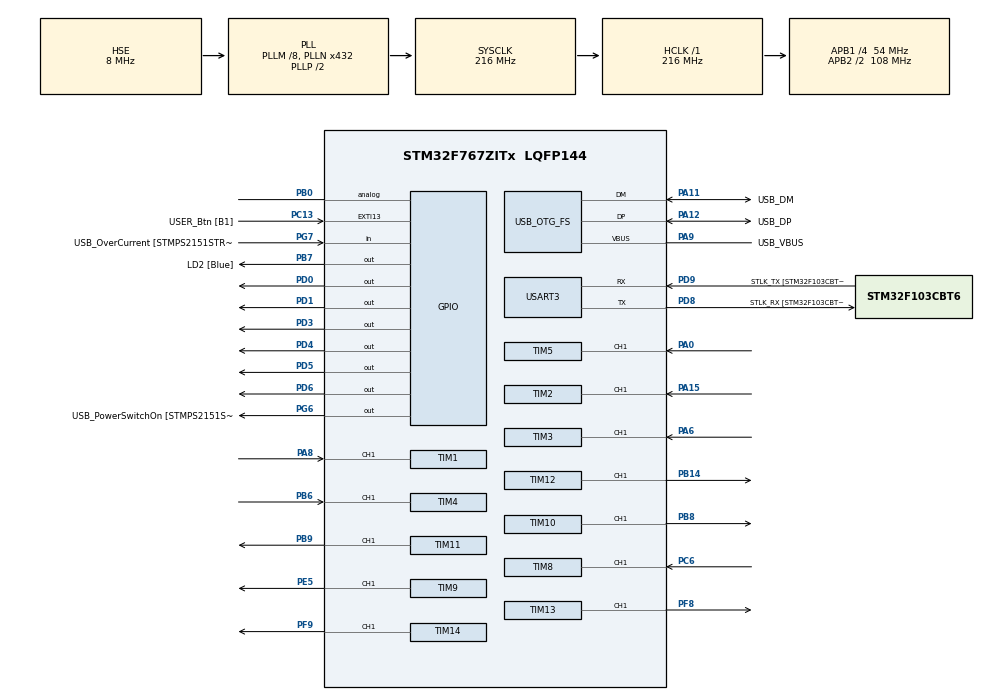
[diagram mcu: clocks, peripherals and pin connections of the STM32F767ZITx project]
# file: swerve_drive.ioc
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Mcu.Family=STM32F7
Mcu.Name=STM32F767ZITx
Mcu.Package=LQFP144
NVIC.PriorityGroup=NVIC_PRIORITYGROUP_4
NVIC.TIM6_DAC_IRQn=true\:0\:0\:false\:false\:true\:true\:true\:true
PA0/WKUP.GPIO_PuPd=GPIO_PULLDOWN
PA0/WKUP.GPIO_Speed=GPIO_SPEED_FREQ_HIGH
PA0/WKUP.Signal=S_TIM5_CH1
PA10.GPIO_Label=USB_ID
PA10.Signal=USB_OTG_FS_ID
PA11.GPIO_Label=USB_DM
PA11.Mode=Device_Only
PA11.Signal=USB_OTG_FS_DM
PA12.GPIO_Label=USB_DP
PA12.Mode=Device_Only
PA12.Signal=USB_OTG_FS_DP
PA13.GPIO_Label=TMS
PA13.Mode=Serial_Wire
PA13.Signal=SYS_JTMS-SWDIO
PA14.GPIO_Label=TCK
PA14.Mode=Serial_Wire
PA14.Signal=SYS_JTCK-SWCLK
PA15.GPIO_PuPd=GPIO_PULLDOWN
PA15.GPIO_Speed=GPIO_SPEED_FREQ_HIGH
PA15.Signal=S_TIM2_CH1_ETR
PA6.GPIO_PuPd=GPIO_PULLDOWN
PA6.GPIO_Speed=GPIO_SPEED_FREQ_HIGH
PA6.Signal=S_TIM3_CH1
PA8.GPIO_PuPd=GPIO_PULLDOWN
PA8.GPIO_Speed=GPIO_SPEED_FREQ_HIGH
PA8.Signal=S_TIM1_CH1
PA9.GPIO_Label=USB_VBUS
PA9.Mode=Activate_VBUS
PA9.Signal=USB_OTG_FS_VBUS
PB0.Signal=GPIO_Analog
PB14.GPIO_Speed=GPIO_SPEED_FREQ_VERY_HIGH
PB14.Signal=S_TIM12_CH1
PB6.GPIO_PuPd=GPIO_PULLDOWN
PB6.GPIO_Speed=GPIO_SPEED_FREQ_HIGH
PB6.Signal=S_TIM4_CH1
PB7.GPIO_Label=LD2 [Blue]
PB7.GPIO_Speed=GPIO_SPEED_FREQ_VERY_HIGH
PB7.Signal=GPIO_Output
PB8.GPIO_Speed=GPIO_SPEED_FREQ_VERY_HIGH
PB8.Signal=S_TIM10_CH1
PB9.GPIO_Speed=GPIO_SPEED_FREQ_VERY_HIGH
PB9.Signal=S_TIM11_CH1
PC1.GPIO_Label=RMII_MDC [LAN8742A-CZ-TR_MDC]
PC1.Signal=ETH_MDC
PC13.GPIO_Label=USER_Btn [B1]
PC13.Signal=GPXTI13
PC14/OSC32_IN.Mode=LSE-External-Oscillator
PC14/OSC32_IN.Signal=RCC_OSC32_IN
PC15/OSC32_OUT.Mode=LSE-External-Oscillator
PC15/OSC32_OUT.Signal=RCC_OSC32_OUT
PC6.GPIO_PuPd=GPIO_PULLDOWN
PC6.GPIO_Speed=GPIO_SPEED_FREQ_HIGH
PC6.Signal=S_TIM8_CH1
PD0.GPIO_PuPd=GPIO_PULLDOWN
PD0.GPIO_Speed=GPIO_SPEED_FREQ_VERY_HIGH
PD0.Signal=GPIO_Output
PD1.GPIO_PuPd=GPIO_PULLDOWN
PD1.GPIO_Speed=GPIO_SPEED_FREQ_VERY_HIGH
PD1.Signal=GPIO_Output
PD3.GPIO_PuPd=GPIO_PULLDOWN
PD3.GPIO_Speed=GPIO_SPEED_FREQ_VERY_HIGH
PD3.Signal=GPIO_Output
PD4.GPIO_PuPd=GPIO_PULLDOWN
PD4.GPIO_Speed=GPIO_SPEED_FREQ_VERY_HIGH
PD4.Signal=GPIO_Output
PD5.GPIO_PuPd=GPIO_PULLDOWN
PD5.GPIO_Speed=GPIO_SPEED_FREQ_VERY_HIGH
PD5.Signal=GPIO_Output
PD6.GPIO_PuPd=GPIO_PULLDOWN
PD6.GPIO_Speed=GPIO_SPEED_FREQ_VERY_HIGH
PD6.Signal=GPIO_Output
PD8.GPIO_Label=STLK_RX [STM32F103CBT6_PA3]
PD8.Mode=Asynchronous
PD8.Signal=USART3_TX
PD9.GPIO_Label=STLK_TX [STM32F103CBT6_PA2]
PD9.Mode=Asynchronous
PD9.Signal=USART3_RX
PE5.GPIO_Speed=GPIO_SPEED_FREQ_VERY_HIGH
PE5.Signal=S_TIM9_CH1
PF8.GPIO_Speed=GPIO_SPEED_FREQ_VERY_HIGH
PF8.Signal=S_TIM13_CH1
PF9.GPIO_Speed=GPIO_SPEED_FREQ_VERY_HIGH
PF9.Signal=S_TIM14_CH1
PG11.GPIO_Label=RMII_TX_EN [LAN8742A-CZ-TR_TXEN]
PG11.Signal=ETH_TX_EN
PG13.GPIO_Label=RMII_TXD0 [LAN8742A-CZ-TR_TXD0]
PG13.Signal=ETH_TXD0
PG6.GPIO_Label=USB_PowerSwitchOn [STMPS2151STR_EN]
PG6.Signal=GPIO_Output
PG7.GPIO_Label=USB_OverCurrent [STMPS2151STR_FAULT]
PG7.Signal=GPIO_Input
PH0/OSC_IN.GPIO_Label=MCO [STM32F103CBT6_PA8]
PH0/OSC_IN.Mode=HSE-External-Clock-Source
PH0/OSC_IN.Signal=RCC_OSC_IN
PH1/OSC_OUT.Mode=HSE-External-Clock-Source
PH1/OSC_OUT.Signal=RCC_OSC_OUT
ProjectManager.HeapSize=0x200
ProjectManager.StackSize=0x400
ProjectManager.TargetToolchain=STM32CubeIDE
RCC.48MHZClocksFreq_Value=24000000
RCC.AHBFreq_Value=216000000
RCC.APB1CLKDivider=RCC_HCLK_DIV4
RCC.APB1Freq_Value=54000000
RCC.APB1TimFreq_Value=108000000
RCC.APB2CLKDivider=RCC_HCLK_DIV2
RCC.APB2Freq_Value=108000000
RCC.APB2TimFreq_Value=216000000
RCC.CortexFreq_Value=216000000
RCC.HCLKFreq_Value=216000000
RCC.HSE_VALUE=8000000
RCC.HSI_VALUE=16000000
RCC.PLLM=8
RCC.PLLMUL=RCC_PLL_MUL9
RCC.PLLN=432
RCC.PLLQ=9
RCC.PRESCALERUSB=RCC_USBCLKSOURCE_PLL_DIV1_5
RCC.SYSCLKFreq_VALUE=216000000
RCC.SYSCLKSource=RCC_SYSCLKSOURCE_PLLCLK
RCC.SYSCLKSourceVirtual=RCC_SYSCLKSOURCE_PLLCLK
RCC.USBFreq_Value=48000000
RCC.VCOOutputFreq_Value=432000000
SH.S_TIM10_CH1.0=TIM10_CH1,PWM Generation1 CH1
SH.S_TIM11_CH1.0=TIM11_CH1,PWM Generation1 CH1
SH.S_TIM12_CH1.0=TIM12_CH1,PWM Generation1 CH1
SH.S_TIM13_CH1.0=TIM13_CH1,PWM Generation1 CH1
SH.S_TIM14_CH1.0=TIM14_CH1,PWM Generation1 CH1
SH.S_TIM1_CH1.0=TIM1_CH1,TriggerSource_TI1FP1
SH.S_TIM2_CH1_ETR.0=TIM2_CH1,TriggerSource_TI1FP1
SH.S_TIM3_CH1.0=TIM3_CH1,TriggerSource_TI1FP1
SH.S_TIM4_CH1.0=TIM4_CH1,TriggerSource_TI1FP1
SH.S_TIM5_CH1.0=TIM5_CH1,TriggerSource_TI1FP1
SH.S_TIM8_CH1.0=TIM8_CH1,TriggerSource_TI1FP1
SH.S_TIM9_CH1.0=TIM9_CH1,PWM Generation1 CH1
TIM1.Period=0xFFFF
TIM1.Slave_TriggerFilter=4
TIM10.AutoReloadPreload=TIM_AUTORELOAD_PRELOAD_ENABLE
TIM10.Channel=TIM_CHANNEL_1
TIM10.Period=4999
TIM10.Prescaler=21599
TIM10.Pulse=2500
TIM11.AutoReloadPreload=TIM_AUTORELOAD_PRELOAD_ENABLE
TIM11.Channel=TIM_CHANNEL_1
TIM11.Period=4999
TIM11.Prescaler=21599
TIM11.Pulse=2500
TIM12.AutoReloadPreload=TIM_AUTORELOAD_PRELOAD_ENABLE
TIM12.Channel-PWM\ Generation1\ CH1=TIM_CHANNEL_1
TIM12.Period=4999
TIM12.Prescaler=10799
TIM12.Pulse-PWM\ Generation1\ CH1=2500
TIM13.AutoReloadPreload=TIM_AUTORELOAD_PRELOAD_ENABLE
TIM13.Channel=TIM_CHANNEL_1
TIM13.Period=4999
TIM13.Prescaler=10799
TIM13.Pulse=2500
TIM14.AutoReloadPreload=TIM_AUTORELOAD_PRELOAD_ENABLE
TIM14.Channel=TIM_CHANNEL_1
TIM14.Period=4999
TIM14.Prescaler=10799
TIM14.Pulse=2500
TIM2.Period=0xFFFFFFFF
TIM2.Slave_TriggerFilter=4
TIM3.Period=0xFFFF
TIM4.Period=0xFFFF
TIM5.Period=0xFFFFFFFF
TIM6.AutoReloadPreload=TIM_AUTORELOAD_PRELOAD_ENABLE
TIM6.Period=1
TIM6.Prescaler=10799
TIM8.Period=0xFFFF
TIM8.Slave_TriggerFilter=8
TIM9.AutoReloadPreload=TIM_AUTORELOAD_PRELOAD_ENABLE
TIM9.Channel-PWM\ Generation1\ CH1=TIM_CHANNEL_1
TIM9.Period=4999
TIM9.Prescaler=21599
TIM9.Pulse-PWM\ Generation1\ CH1=2500
USART3.VirtualMode-Asynchronous=VM_ASYNC
USB_OTG_FS.VirtualMode=Device_Only
VP_TIM10_VS_ClockSourceINT.Mode=Enable_Timer
VP_TIM11_VS_ClockSourceINT.Mode=Enable_Timer
VP_TIM13_VS_ClockSourceINT.Mode=Enable_Timer
VP_TIM14_VS_ClockSourceINT.Mode=Enable_Timer
VP_TIM1_VS_ControllerModeClock.Mode=Clock Mode
VP_TIM2_VS_ControllerModeClock.Mode=Clock Mode
VP_TIM3_VS_ControllerModeClock.Mode=Clock Mode
VP_TIM4_VS_ControllerModeClock.Mode=Clock Mode
VP_TIM5_VS_ControllerModeClock.Mode=Clock Mode
VP_TIM6_VS_ClockSourceINT.Mode=Enable_Timer
VP_TIM8_VS_ControllerModeClock.Mode=Clock Mode
board=NUCLEO-F767ZI

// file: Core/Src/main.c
/* USER CODE BEGIN Header */
/**
  ******************************************************************************
  * @file           : main.c
  * @brief          : Main program body
  ******************************************************************************
  * @attention
  *
  * Copyright (c) 2025 STMicroelectronics.
  * All rights reserved.
  *
  * This software is licensed under terms that can be found in the LICENSE file
  * in the root directory of this software component.
  * If no LICENSE file comes with this software, it is provided AS-IS.
  *
  ******************************************************************************
  */
/* USER CODE END Header */
#include "main.h"

/* USER CODE BEGIN Includes */
#include "comm_io.h"
#include "cli.h"
#include "stepgen.h"
#include "motor.h"
#include "swerve_module.h"
#include "../Inc/swerve_kinematics.h"
#include "telemetry.h"
#include "app_timers.h"
#include "watchdog.h"
/* USER CODE END Includes */

TIM_HandleTypeDef htim1;
TIM_HandleTypeDef htim2;
TIM_HandleTypeDef htim3;
TIM_HandleTypeDef htim4;
TIM_HandleTypeDef htim5;
TIM_HandleTypeDef htim6;
TIM_HandleTypeDef htim8;
TIM_HandleTypeDef htim9;
TIM_HandleTypeDef htim10;
TIM_HandleTypeDef htim11;
TIM_HandleTypeDef htim12;
TIM_HandleTypeDef htim13;
TIM_HandleTypeDef htim14;

UART_HandleTypeDef huart3;

PCD_HandleTypeDef hpcd_USB_OTG_FS;

/* USER CODE BEGIN PV */
// Stepgen instances for all 6 motors
StepGen stepgen_fr_steer;  // TIM9
StepGen stepgen_fr_drive;  // TIM10
StepGen stepgen_fl_steer;  // TIM11
StepGen stepgen_fl_drive;  // TIM12
StepGen stepgen_r_steer;   // TIM13
StepGen stepgen_r_drive;   // TIM14

// Motor instances: m0-m5 (steers=even, drives=odd)
Motor m0;  // FR steer
Motor m1;  // FR drive
Motor m2;  // FL steer
Motor m3;  // FL drive
Motor m4;  // R steer
Motor m5;  // R drive

// Legacy test motor (will remove later)
Motor motor_test;

// External references from cli.c
extern SwerveModule swerve_fr, swerve_fl, swerve_r;
extern SKM_State swerve_kin;

/* USER CODE END PV */

void SystemClock_Config(void);
static void MX_GPIO_Init(void);
static void MX_USART3_UART_Init(void);
static void MX_USB_OTG_FS_PCD_Init(void);
static void MX_TIM1_Init(void);
static void MX_TIM2_Init(void);
static void MX_TIM3_Init(void);
static void MX_TIM4_Init(void);
static void MX_TIM5_Init(void);
static void MX_TIM6_Init(void);
static void MX_TIM8_Init(void);
static void MX_TIM9_Init(void);
static void MX_TIM10_Init(void);
static void MX_TIM11_Init(void);
static void MX_TIM12_Init(void);
static void MX_TIM13_Init(void);
static void MX_TIM14_Init(void);
/* USER CODE BEGIN PFP */
void control_loop_100Hz(void);
/* USER CODE END PFP */

int main(void)
{

  /* MCU Configuration--------------------------------------------------------*/

  /* Reset of all peripherals, Initializes the Flash interface and the Systick. */
  HAL_Init();

  /* Configure the system clock */
  SystemClock_Config();

  /* Initialize all configured peripherals */
  MX_GPIO_Init();
  MX_USART3_UART_Init();
  MX_USB_OTG_FS_PCD_Init();
  MX_TIM1_Init();
  MX_TIM2_Init();
  MX_TIM3_Init();
  MX_TIM4_Init();
  MX_TIM5_Init();
  MX_TIM6_Init();
  MX_TIM8_Init();
  MX_TIM9_Init();
  MX_TIM10_Init();
  MX_TIM11_Init();
  MX_TIM12_Init();
  MX_TIM13_Init();
  MX_TIM14_Init();
  /* USER CODE BEGIN 2 */
  // Basic UART test first
  HAL_UART_Transmit(&huart3, (uint8_t*)"UART Test\r\n", 11, 1000);
  HAL_Delay(100);

  comm_io_init(&huart3);
  cli_init();

  // Calculate timer clocks for different APB domains
  uint32_t pclk1_freq = HAL_RCC_GetPCLK1Freq();
  uint32_t pclk2_freq = HAL_RCC_GetPCLK2Freq();
  uint32_t tim9_11_base_clk_hz = pclk2_freq * 2;   // TIM9, TIM10, TIM11 on APB2
  uint32_t tim12_14_base_clk_hz = pclk1_freq * 2;  // TIM12, TIM13, TIM14 on APB1

  // Calculate effective timer clocks after prescaler division
  // TIM9, TIM10, TIM11 have Prescaler = 21599
  uint32_t tim9_11_effective_clk = tim9_11_base_clk_hz / (21599 + 1);
  // TIM12, TIM13, TIM14 have Prescaler = 10799
  uint32_t tim12_14_effective_clk = tim12_14_base_clk_hz / (10799 + 1);

  // Initialize all stepgens with effective clock frequencies
  stepgen_init(&stepgen_fr_steer, &htim9,  TIM_CHANNEL_1, tim9_11_effective_clk);   // APB2
  stepgen_init(&stepgen_fr_drive, &htim10, TIM_CHANNEL_1, tim9_11_effective_clk);   // APB2
  stepgen_init(&stepgen_fl_steer, &htim11, TIM_CHANNEL_1, tim9_11_effective_clk);   // APB2
  stepgen_init(&stepgen_fl_drive, &htim12, TIM_CHANNEL_1, tim12_14_effective_clk);  // APB1
  stepgen_init(&stepgen_r_steer,  &htim13, TIM_CHANNEL_1, tim12_14_effective_clk);  // APB1
  stepgen_init(&stepgen_r_drive,  &htim14, TIM_CHANNEL_1, tim12_14_effective_clk);  // APB1

  // Initialize all motors with proper pin assignments
  // SPS Limits: Steer=5000 (precision for angular positioning), Drive=10000 (speed for linear motion)
  MotorHW motor_hw_configs[6] = {
    // m0: FR steer - TIM9→PE5, DIR=PD0, Counter=TIM1→PA8
    {&stepgen_fr_steer, GPIOD, GPIO_PIN_0, &htim1, 5000, 100},   // Steer: precision over speed
    // m1: FR drive - TIM10→PB8, DIR=PD1, Counter=TIM2→PA5
    {&stepgen_fr_drive, GPIOD, GPIO_PIN_1, &htim2, 10000, 100},  // Drive: speed for translation
    // m2: FL steer - TIM11→PB9, DIR=PD6, Counter=TIM3→PA6
    {&stepgen_fl_steer, GPIOD, GPIO_PIN_6, &htim3, 5000, 100},   // Steer: precision over speed
    // m3: FL drive - TIM12→PB14, DIR=PD3, Counter=TIM4→PB6
    {&stepgen_fl_drive, GPIOD, GPIO_PIN_3, &htim4, 10000, 100},  // Drive: speed for translation
    // m4: R steer - TIM13→PF8, DIR=PD4, Counter=TIM5→PA0
    {&stepgen_r_steer, GPIOD, GPIO_PIN_4, &htim5, 5000, 100},    // Steer: precision over speed
    // m5: R drive - TIM14→PF9, DIR=PD5, Counter=TIM8→PC6
    {&stepgen_r_drive, GPIOD, GPIO_PIN_5, &htim8, 10000, 100}    // Drive: speed for translation
  };

  Motor* motors[6] = {&m0, &m1, &m2, &m3, &m4, &m5};
  for (int i = 0; i < 6; i++) {
    motor_init(motors[i], &motor_hw_configs[i]);
  }

  // Legacy test motor (using m0 for now)
  motor_test = m0;

  // Initialize system timers (including TIM6 @ 5kHz)
  app_timers_init();

  // Initialize watchdog with 500ms timeout - must be last init
  watchdog_init();
  /* USER CODE END 2 */

  /* Infinite loop */
  while (1)
  {

    /* USER CODE BEGIN 3 */
    // Check software watchdog timeout
    watchdog_check_timeout();

    cli_process();

    // Poll all motor counters at ~100-200 Hz (limited by CLI processing time)
    motor_poll_counter(&m0);
    motor_poll_counter(&m1);
    motor_poll_counter(&m2);
    motor_poll_counter(&m3);
    motor_poll_counter(&m4);
    motor_poll_counter(&m5);
  }
  /* USER CODE END 3 */
}

void SystemClock_Config(void)
{
  RCC_OscInitTypeDef RCC_OscInitStruct = {0};
  RCC_ClkInitTypeDef RCC_ClkInitStruct = {0};

  /** Configure LSE Drive Capability
  */
  HAL_PWR_EnableBkUpAccess();

  /** Configure the main internal regulator output voltage
  */
  __HAL_RCC_PWR_CLK_ENABLE();
  __HAL_PWR_VOLTAGESCALING_CONFIG(PWR_REGULATOR_VOLTAGE_SCALE1);

  /** Initializes the RCC Oscillators according to the specified parameters
  * in the RCC_OscInitTypeDef structure.
  */
  RCC_OscInitStruct.OscillatorType = RCC_OSCILLATORTYPE_HSE;
  RCC_OscInitStruct.HSEState = RCC_HSE_BYPASS;
  RCC_OscInitStruct.PLL.PLLState = RCC_PLL_ON;
  RCC_OscInitStruct.PLL.PLLSource = RCC_PLLSOURCE_HSE;
  RCC_OscInitStruct.PLL.PLLM = 8;
  RCC_OscInitStruct.PLL.PLLN = 432;
  RCC_OscInitStruct.PLL.PLLP = RCC_PLLP_DIV2;
  RCC_OscInitStruct.PLL.PLLQ = 9;
  RCC_OscInitStruct.PLL.PLLR = 2;
  if (HAL_RCC_OscConfig(&RCC_OscInitStruct) != HAL_OK)
  {
    Error_Handler();
  }

  /** Activate the Over-Drive mode
  */
  if (HAL_PWREx_EnableOverDrive() != HAL_OK)
  {
    Error_Handler();
  }

  /** Initializes the CPU, AHB and APB buses clocks
  */
  RCC_ClkInitStruct.ClockType = RCC_CLOCKTYPE_HCLK|RCC_CLOCKTYPE_SYSCLK
                              |RCC_CLOCKTYPE_PCLK1|RCC_CLOCKTYPE_PCLK2;
  RCC_ClkInitStruct.SYSCLKSource = RCC_SYSCLKSOURCE_PLLCLK;
  RCC_ClkInitStruct.AHBCLKDivider = RCC_SYSCLK_DIV1;
  RCC_ClkInitStruct.APB1CLKDivider = RCC_HCLK_DIV4;
  RCC_ClkInitStruct.APB2CLKDivider = RCC_HCLK_DIV2;

  if (HAL_RCC_ClockConfig(&RCC_ClkInitStruct, FLASH_LATENCY_7) != HAL_OK)
  {
    Error_Handler();
  }
}

static void MX_TIM1_Init(void)
{

  TIM_SlaveConfigTypeDef sSlaveConfig = {0};
  TIM_MasterConfigTypeDef sMasterConfig = {0};

  htim1.Instance = TIM1;
  htim1.Init.Prescaler = 0;
  htim1.Init.CounterMode = TIM_COUNTERMODE_UP;
  htim1.Init.Period = 0xFFFF;
  htim1.Init.ClockDivision = TIM_CLOCKDIVISION_DIV1;
  htim1.Init.RepetitionCounter = 0;
  htim1.Init.AutoReloadPreload = TIM_AUTORELOAD_PRELOAD_DISABLE;
  if (HAL_TIM_Base_Init(&htim1) != HAL_OK)
  {
    Error_Handler();
  }
  sSlaveConfig.SlaveMode = TIM_SLAVEMODE_EXTERNAL1;
  sSlaveConfig.InputTrigger = TIM_TS_TI1FP1;
  sSlaveConfig.TriggerPolarity = TIM_TRIGGERPOLARITY_RISING;
  sSlaveConfig.TriggerFilter = 4;
  if (HAL_TIM_SlaveConfigSynchro(&htim1, &sSlaveConfig) != HAL_OK)
  {
    Error_Handler();
  }
  sMasterConfig.MasterOutputTrigger = TIM_TRGO_RESET;
  sMasterConfig.MasterOutputTrigger2 = TIM_TRGO2_RESET;
  sMasterConfig.MasterSlaveMode = TIM_MASTERSLAVEMODE_DISABLE;
  if (HAL_TIMEx_MasterConfigSynchronization(&htim1, &sMasterConfig) != HAL_OK)
  {
    Error_Handler();
  }

}

static void MX_TIM2_Init(void)
{

  TIM_SlaveConfigTypeDef sSlaveConfig = {0};
  TIM_MasterConfigTypeDef sMasterConfig = {0};

  htim2.Instance = TIM2;
  htim2.Init.Prescaler = 0;
  htim2.Init.CounterMode = TIM_COUNTERMODE_UP;
  htim2.Init.Period = 0xFFFFFFFF;
  htim2.Init.ClockDivision = TIM_CLOCKDIVISION_DIV1;
  htim2.Init.AutoReloadPreload = TIM_AUTORELOAD_PRELOAD_DISABLE;
  if (HAL_TIM_Base_Init(&htim2) != HAL_OK)
  {
    Error_Handler();
  }
  sSlaveConfig.SlaveMode = TIM_SLAVEMODE_EXTERNAL1;
  sSlaveConfig.InputTrigger = TIM_TS_TI1FP1;
  sSlaveConfig.TriggerPolarity = TIM_TRIGGERPOLARITY_RISING;
  sSlaveConfig.TriggerFilter = 4;
  if (HAL_TIM_SlaveConfigSynchro(&htim2, &sSlaveConfig) != HAL_OK)
  {
    Error_Handler();
  }
  sMasterConfig.MasterOutputTrigger = TIM_TRGO_RESET;
  sMasterConfig.MasterSlaveMode = TIM_MASTERSLAVEMODE_DISABLE;
  if (HAL_TIMEx_MasterConfigSynchronization(&htim2, &sMasterConfig) != HAL_OK)
  {
    Error_Handler();
  }

}

static void MX_TIM3_Init(void)
{

  TIM_SlaveConfigTypeDef sSlaveConfig = {0};
  TIM_MasterConfigTypeDef sMasterConfig = {0};

  htim3.Instance = TIM3;
  htim3.Init.Prescaler = 0;
  htim3.Init.CounterMode = TIM_COUNTERMODE_UP;
  htim3.Init.Period = 0xFFFF;
  htim3.Init.ClockDivision = TIM_CLOCKDIVISION_DIV1;
  htim3.Init.AutoReloadPreload = TIM_AUTORELOAD_PRELOAD_DISABLE;
  if (HAL_TIM_Base_Init(&htim3) != HAL_OK)
  {
    Error_Handler();
  }
  sSlaveConfig.SlaveMode = TIM_SLAVEMODE_EXTERNAL1;
  sSlaveConfig.InputTrigger = TIM_TS_TI1FP1;
  sSlaveConfig.TriggerPolarity = TIM_TRIGGERPOLARITY_RISING;
  sSlaveConfig.TriggerFilter = 4;
  if (HAL_TIM_SlaveConfigSynchro(&htim3, &sSlaveConfig) != HAL_OK)
  {
    Error_Handler();
  }
  sMasterConfig.MasterOutputTrigger = TIM_TRGO_RESET;
  sMasterConfig.MasterSlaveMode = TIM_MASTERSLAVEMODE_DISABLE;
  if (HAL_TIMEx_MasterConfigSynchronization(&htim3, &sMasterConfig) != HAL_OK)
  {
    Error_Handler();
  }

}

static void MX_TIM4_Init(void)
{

  TIM_SlaveConfigTypeDef sSlaveConfig = {0};
  TIM_MasterConfigTypeDef sMasterConfig = {0};

  htim4.Instance = TIM4;
  htim4.Init.Prescaler = 0;
  htim4.Init.CounterMode = TIM_COUNTERMODE_UP;
  htim4.Init.Period = 0xFFFF;
  htim4.Init.ClockDivision = TIM_CLOCKDIVISION_DIV1;
  htim4.Init.AutoReloadPreload = TIM_AUTORELOAD_PRELOAD_DISABLE;
  if (HAL_TIM_Base_Init(&htim4) != HAL_OK)
  {
    Error_Handler();
  }
  sSlaveConfig.SlaveMode = TIM_SLAVEMODE_EXTERNAL1;
  sSlaveConfig.InputTrigger = TIM_TS_TI1FP1;
  sSlaveConfig.TriggerPolarity = TIM_TRIGGERPOLARITY_RISING;
  sSlaveConfig.TriggerFilter = 4;
  if (HAL_TIM_SlaveConfigSynchro(&htim4, &sSlaveConfig) != HAL_OK)
  {
    Error_Handler();
  }
  sMasterConfig.MasterOutputTrigger = TIM_TRGO_RESET;
  sMasterConfig.MasterSlaveMode = TIM_MASTERSLAVEMODE_DISABLE;
  if (HAL_TIMEx_MasterConfigSynchronization(&htim4, &sMasterConfig) != HAL_OK)
  {
    Error_Handler();
  }

}

static void MX_TIM5_Init(void)
{

  TIM_SlaveConfigTypeDef sSlaveConfig = {0};
  TIM_MasterConfigTypeDef sMasterConfig = {0};

  htim5.Instance = TIM5;
  htim5.Init.Prescaler = 0;
  htim5.Init.CounterMode = TIM_COUNTERMODE_UP;
  htim5.Init.Period = 0xFFFFFFFF;
  htim5.Init.ClockDivision = TIM_CLOCKDIVISION_DIV1;
  htim5.Init.AutoReloadPreload = TIM_AUTORELOAD_PRELOAD_DISABLE;
  if (HAL_TIM_Base_Init(&htim5) != HAL_OK)
  {
    Error_Handler();
  }
  sSlaveConfig.SlaveMode = TIM_SLAVEMODE_EXTERNAL1;
  sSlaveConfig.InputTrigger = TIM_TS_TI1FP1;
  sSlaveConfig.TriggerPolarity = TIM_TRIGGERPOLARITY_RISING;
  sSlaveConfig.TriggerFilter = 4;
  if (HAL_TIM_SlaveConfigSynchro(&htim5, &sSlaveConfig) != HAL_OK)
  {
    Error_Handler();
  }
  sMasterConfig.MasterOutputTrigger = TIM_TRGO_RESET;
  sMasterConfig.MasterSlaveMode = TIM_MASTERSLAVEMODE_DISABLE;
  if (HAL_TIMEx_MasterConfigSynchronization(&htim5, &sMasterConfig) != HAL_OK)
  {
    Error_Handler();
  }

}

static void MX_TIM6_Init(void)
{

  TIM_MasterConfigTypeDef sMasterConfig = {0};

  htim6.Instance = TIM6;
  htim6.Init.Prescaler = 10799;
  htim6.Init.CounterMode = TIM_COUNTERMODE_UP;
  htim6.Init.Period = 1;
  htim6.Init.AutoReloadPreload = TIM_AUTORELOAD_PRELOAD_ENABLE;
  if (HAL_TIM_Base_Init(&htim6) != HAL_OK)
  {
    Error_Handler();
  }
  sMasterConfig.MasterOutputTrigger = TIM_TRGO_RESET;
  sMasterConfig.MasterSlaveMode = TIM_MASTERSLAVEMODE_DISABLE;
  if (HAL_TIMEx_MasterConfigSynchronization(&htim6, &sMasterConfig) != HAL_OK)
  {
    Error_Handler();
  }

}

static void MX_TIM8_Init(void)
{

  TIM_SlaveConfigTypeDef sSlaveConfig = {0};
  TIM_MasterConfigTypeDef sMasterConfig = {0};

  htim8.Instance = TIM8;
  htim8.Init.Prescaler = 0;
  htim8.Init.CounterMode = TIM_COUNTERMODE_UP;
  htim8.Init.Period = 0xFFFF;
  htim8.Init.ClockDivision = TIM_CLOCKDIVISION_DIV1;
  htim8.Init.RepetitionCounter = 0;
  htim8.Init.AutoReloadPreload = TIM_AUTORELOAD_PRELOAD_DISABLE;
  if (HAL_TIM_Base_Init(&htim8) != HAL_OK)
  {
    Error_Handler();
  }
  sSlaveConfig.SlaveMode = TIM_SLAVEMODE_EXTERNAL1;
  sSlaveConfig.InputTrigger = TIM_TS_TI1FP1;
  sSlaveConfig.TriggerPolarity = TIM_TRIGGERPOLARITY_RISING;
  sSlaveConfig.TriggerFilter = 8;
  if (HAL_TIM_SlaveConfigSynchro(&htim8, &sSlaveConfig) != HAL_OK)
  {
    Error_Handler();
  }
  sMasterConfig.MasterOutputTrigger = TIM_TRGO_RESET;
  sMasterConfig.MasterOutputTrigger2 = TIM_TRGO2_RESET;
  sMasterConfig.MasterSlaveMode = TIM_MASTERSLAVEMODE_DISABLE;
  if (HAL_TIMEx_MasterConfigSynchronization(&htim8, &sMasterConfig) != HAL_OK)
  {
    Error_Handler();
  }

}

static void MX_TIM9_Init(void)
{

  TIM_OC_InitTypeDef sConfigOC = {0};

  htim9.Instance = TIM9;
  htim9.Init.Prescaler = 21599;
  htim9.Init.CounterMode = TIM_COUNTERMODE_UP;
  htim9.Init.Period = 4999;
  htim9.Init.ClockDivision = TIM_CLOCKDIVISION_DIV1;
  htim9.Init.AutoReloadPreload = TIM_AUTORELOAD_PRELOAD_ENABLE;
  if (HAL_TIM_PWM_Init(&htim9) != HAL_OK)
  {
    Error_Handler();
  }
  sConfigOC.OCMode = TIM_OCMODE_PWM1;
  sConfigOC.Pulse = 2500;
  sConfigOC.OCPolarity = TIM_OCPOLARITY_HIGH;
  sConfigOC.OCFastMode = TIM_OCFAST_DISABLE;
  if (HAL_TIM_PWM_ConfigChannel(&htim9, &sConfigOC, TIM_CHANNEL_1) != HAL_OK)
  {
    Error_Handler();
  }
  HAL_TIM_MspPostInit(&htim9);

}

static void MX_TIM10_Init(void)
{

  TIM_OC_InitTypeDef sConfigOC = {0};

  htim10.Instance = TIM10;
  htim10.Init.Prescaler = 21599;
  htim10.Init.CounterMode = TIM_COUNTERMODE_UP;
  htim10.Init.Period = 4999;
  htim10.Init.ClockDivision = TIM_CLOCKDIVISION_DIV1;
  htim10.Init.AutoReloadPreload = TIM_AUTORELOAD_PRELOAD_ENABLE;
  if (HAL_TIM_Base_Init(&htim10) != HAL_OK)
  {
    Error_Handler();
  }
  if (HAL_TIM_PWM_Init(&htim10) != HAL_OK)
  {
    Error_Handler();
  }
  sConfigOC.OCMode = TIM_OCMODE_PWM1;
  sConfigOC.Pulse = 2500;
  sConfigOC.OCPolarity = TIM_OCPOLARITY_HIGH;
  sConfigOC.OCFastMode = TIM_OCFAST_DISABLE;
  if (HAL_TIM_PWM_ConfigChannel(&htim10, &sConfigOC, TIM_CHANNEL_1) != HAL_OK)
  {
    Error_Handler();
  }
  HAL_TIM_MspPostInit(&htim10);

}

static void MX_TIM11_Init(void)
{

  TIM_OC_InitTypeDef sConfigOC = {0};

  htim11.Instance = TIM11;
  htim11.Init.Prescaler = 21599;
  htim11.Init.CounterMode = TIM_COUNTERMODE_UP;
  htim11.Init.Period = 4999;
  htim11.Init.ClockDivision = TIM_CLOCKDIVISION_DIV1;
  htim11.Init.AutoReloadPreload = TIM_AUTORELOAD_PRELOAD_ENABLE;
  if (HAL_TIM_Base_Init(&htim11) != HAL_OK)
  {
    Error_Handler();
  }
  if (HAL_TIM_PWM_Init(&htim11) != HAL_OK)
  {
    Error_Handler();
  }
  sConfigOC.OCMode = TIM_OCMODE_PWM1;
  sConfigOC.Pulse = 2500;
  sConfigOC.OCPolarity = TIM_OCPOLARITY_HIGH;
  sConfigOC.OCFastMode = TIM_OCFAST_DISABLE;
  if (HAL_TIM_PWM_ConfigChannel(&htim11, &sConfigOC, TIM_CHANNEL_1) != HAL_OK)
  {
    Error_Handler();
  }
  HAL_TIM_MspPostInit(&htim11);

}

static void MX_TIM12_Init(void)
{

  TIM_OC_InitTypeDef sConfigOC = {0};

  htim12.Instance = TIM12;
  htim12.Init.Prescaler = 10799;
  htim12.Init.CounterMode = TIM_COUNTERMODE_UP;
  htim12.Init.Period = 4999;
  htim12.Init.ClockDivision = TIM_CLOCKDIVISION_DIV1;
  htim12.Init.AutoReloadPreload = TIM_AUTORELOAD_PRELOAD_ENABLE;
  if (HAL_TIM_PWM_Init(&htim12) != HAL_OK)
  {
    Error_Handler();
  }
  sConfigOC.OCMode = TIM_OCMODE_PWM1;
  sConfigOC.Pulse = 2500;
  sConfigOC.OCPolarity = TIM_OCPOLARITY_HIGH;
  sConfigOC.OCFastMode = TIM_OCFAST_DISABLE;
  if (HAL_TIM_PWM_ConfigChannel(&htim12, &sConfigOC, TIM_CHANNEL_1) != HAL_OK)
  {
    Error_Handler();
  }
  HAL_TIM_MspPostInit(&htim12);

}

static void MX_TIM13_Init(void)
{

  TIM_OC_InitTypeDef sConfigOC = {0};

  htim13.Instance = TIM13;
  htim13.Init.Prescaler = 10799;
  htim13.Init.CounterMode = TIM_COUNTERMODE_UP;
  htim13.Init.Period = 4999;
  htim13.Init.ClockDivision = TIM_CLOCKDIVISION_DIV1;
  htim13.Init.AutoReloadPreload = TIM_AUTORELOAD_PRELOAD_ENABLE;
  if (HAL_TIM_Base_Init(&htim13) != HAL_OK)
  {
    Error_Handler();
  }
  if (HAL_TIM_PWM_Init(&htim13) != HAL_OK)
  {
    Error_Handler();
  }
  sConfigOC.OCMode = TIM_OCMODE_PWM1;
  sConfigOC.Pulse = 2500;
  sConfigOC.OCPolarity = TIM_OCPOLARITY_HIGH;
  sConfigOC.OCFastMode = TIM_OCFAST_DISABLE;
  if (HAL_TIM_PWM_ConfigChannel(&htim13, &sConfigOC, TIM_CHANNEL_1) != HAL_OK)
  {
    Error_Handler();
  }
  HAL_TIM_MspPostInit(&htim13);

}

static void MX_TIM14_Init(void)
{

  TIM_OC_InitTypeDef sConfigOC = {0};

  htim14.Instance = TIM14;
  htim14.Init.Prescaler = 10799;
  htim14.Init.CounterMode = TIM_COUNTERMODE_UP;
  htim14.Init.Period = 4999;
  htim14.Init.ClockDivision = TIM_CLOCKDIVISION_DIV1;
  htim14.Init.AutoReloadPreload = TIM_AUTORELOAD_PRELOAD_ENABLE;
  if (HAL_TIM_Base_Init(&htim14) != HAL_OK)
  {
    Error_Handler();
  }
  if (HAL_TIM_PWM_Init(&htim14) != HAL_OK)
  {
    Error_Handler();
  }
  sConfigOC.OCMode = TIM_OCMODE_PWM1;
  sConfigOC.Pulse = 2500;
  sConfigOC.OCPolarity = TIM_OCPOLARITY_HIGH;
  sConfigOC.OCFastMode = TIM_OCFAST_DISABLE;
  if (HAL_TIM_PWM_ConfigChannel(&htim14, &sConfigOC, TIM_CHANNEL_1) != HAL_OK)
  {
    Error_Handler();
  }
  HAL_TIM_MspPostInit(&htim14);

}

static void MX_USART3_UART_Init(void)
{

  huart3.Instance = USART3;
  huart3.Init.BaudRate = 115200;
  huart3.Init.WordLength = UART_WORDLENGTH_8B;
  huart3.Init.StopBits = UART_STOPBITS_1;
  huart3.Init.Parity = UART_PARITY_NONE;
  huart3.Init.Mode = UART_MODE_TX_RX;
  huart3.Init.HwFlowCtl = UART_HWCONTROL_NONE;
  huart3.Init.OverSampling = UART_OVERSAMPLING_16;
  huart3.Init.OneBitSampling = UART_ONE_BIT_SAMPLE_DISABLE;
  huart3.AdvancedInit.AdvFeatureInit = UART_ADVFEATURE_NO_INIT;
  if (HAL_UART_Init(&huart3) != HAL_OK)
  {
    Error_Handler();
  }

}

static void MX_USB_OTG_FS_PCD_Init(void)
{

  hpcd_USB_OTG_FS.Instance = USB_OTG_FS;
  hpcd_USB_OTG_FS.Init.dev_endpoints = 6;
  hpcd_USB_OTG_FS.Init.speed = PCD_SPEED_FULL;
  hpcd_USB_OTG_FS.Init.dma_enable = DISABLE;
  hpcd_USB_OTG_FS.Init.phy_itface = PCD_PHY_EMBEDDED;
  hpcd_USB_OTG_FS.Init.Sof_enable = DISABLE;
  hpcd_USB_OTG_FS.Init.low_power_enable = DISABLE;
  hpcd_USB_OTG_FS.Init.lpm_enable = DISABLE;
  hpcd_USB_OTG_FS.Init.vbus_sensing_enable = ENABLE;
  hpcd_USB_OTG_FS.Init.use_dedicated_ep1 = DISABLE;
  if (HAL_PCD_Init(&hpcd_USB_OTG_FS) != HAL_OK)
  {
    Error_Handler();
  }

}

static void MX_GPIO_Init(void)
{
  GPIO_InitTypeDef GPIO_InitStruct = {0};

  /* GPIO Ports Clock Enable */
  __HAL_RCC_GPIOE_CLK_ENABLE();
  __HAL_RCC_GPIOC_CLK_ENABLE();
  __HAL_RCC_GPIOF_CLK_ENABLE();
  __HAL_RCC_GPIOH_CLK_ENABLE();
  __HAL_RCC_GPIOA_CLK_ENABLE();
  __HAL_RCC_GPIOB_CLK_ENABLE();
  __HAL_RCC_GPIOD_CLK_ENABLE();
  __HAL_RCC_GPIOG_CLK_ENABLE();

  /*Configure GPIO pin Output Level */
  HAL_GPIO_WritePin(USB_PowerSwitchOn_GPIO_Port, USB_PowerSwitchOn_Pin, GPIO_PIN_RESET);

  /*Configure GPIO pin Output Level */
  HAL_GPIO_WritePin(GPIOD, GPIO_PIN_0|GPIO_PIN_1|GPIO_PIN_3|GPIO_PIN_4
                          |GPIO_PIN_5|GPIO_PIN_6, GPIO_PIN_RESET);

  /*Configure GPIO pin Output Level */
  HAL_GPIO_WritePin(LD2_GPIO_Port, LD2_Pin, GPIO_PIN_RESET);

  /*Configure GPIO pin : USER_Btn_Pin */
  GPIO_InitStruct.Pin = USER_Btn_Pin;
  GPIO_InitStruct.Mode = GPIO_MODE_IT_RISING;
  GPIO_InitStruct.Pull = GPIO_NOPULL;
  HAL_GPIO_Init(USER_Btn_GPIO_Port, &GPIO_InitStruct);

  /*Configure GPIO pin : RMII_MDC_Pin */
  GPIO_InitStruct.Pin = RMII_MDC_Pin;
  GPIO_InitStruct.Mode = GPIO_MODE_AF_PP;
  GPIO_InitStruct.Pull = GPIO_NOPULL;
  GPIO_InitStruct.Speed = GPIO_SPEED_FREQ_VERY_HIGH;
  GPIO_InitStruct.Alternate = GPIO_AF11_ETH;
  HAL_GPIO_Init(RMII_MDC_GPIO_Port, &GPIO_InitStruct);

  /*Configure GPIO pin : PB0 */
  GPIO_InitStruct.Pin = GPIO_PIN_0;
  GPIO_InitStruct.Mode = GPIO_MODE_ANALOG;
  GPIO_InitStruct.Pull = GPIO_NOPULL;
  HAL_GPIO_Init(GPIOB, &GPIO_InitStruct);

  /*Configure GPIO pin : USB_PowerSwitchOn_Pin */
  GPIO_InitStruct.Pin = USB_PowerSwitchOn_Pin;
  GPIO_InitStruct.Mode = GPIO_MODE_OUTPUT_PP;
  GPIO_InitStruct.Pull = GPIO_NOPULL;
  GPIO_InitStruct.Speed = GPIO_SPEED_FREQ_LOW;
  HAL_GPIO_Init(USB_PowerSwitchOn_GPIO_Port, &GPIO_InitStruct);

  /*Configure GPIO pin : USB_OverCurrent_Pin */
  GPIO_InitStruct.Pin = USB_OverCurrent_Pin;
  GPIO_InitStruct.Mode = GPIO_MODE_INPUT;
  GPIO_InitStruct.Pull = GPIO_NOPULL;
  HAL_GPIO_Init(USB_OverCurrent_GPIO_Port, &GPIO_InitStruct);

  /*Configure GPIO pins : PD0 PD1 PD3 PD4
                           PD5 PD6 */
  GPIO_InitStruct.Pin = GPIO_PIN_0|GPIO_PIN_1|GPIO_PIN_3|GPIO_PIN_4
                          |GPIO_PIN_5|GPIO_PIN_6;
  GPIO_InitStruct.Mode = GPIO_MODE_OUTPUT_PP;
  GPIO_InitStruct.Pull = GPIO_PULLDOWN;
  GPIO_InitStruct.Speed = GPIO_SPEED_FREQ_VERY_HIGH;
  HAL_GPIO_Init(GPIOD, &GPIO_InitStruct);

  /*Configure GPIO pins : RMII_TX_EN_Pin RMII_TXD0_Pin */
  GPIO_InitStruct.Pin = RMII_TX_EN_Pin|RMII_TXD0_Pin;
  GPIO_InitStruct.Mode = GPIO_MODE_AF_PP;
  GPIO_InitStruct.Pull = GPIO_NOPULL;
  GPIO_InitStruct.Speed = GPIO_SPEED_FREQ_VERY_HIGH;
  GPIO_InitStruct.Alternate = GPIO_AF11_ETH;
  HAL_GPIO_Init(GPIOG, &GPIO_InitStruct);

  /*Configure GPIO pin : LD2_Pin */
  GPIO_InitStruct.Pin = LD2_Pin;
  GPIO_InitStruct.Mode = GPIO_MODE_OUTPUT_PP;
  GPIO_InitStruct.Pull = GPIO_NOPULL;
  GPIO_InitStruct.Speed = GPIO_SPEED_FREQ_VERY_HIGH;
  HAL_GPIO_Init(LD2_GPIO_Port, &GPIO_InitStruct);

}

/* USER CODE BEGIN 4 */

// Called by app_timers.c at 5kHz from TIM6 ISR
void motor_tick_all_5k(void)
{
  // Update watchdog TIM6 heartbeat
  watchdog_tim6_heartbeat();

  // Static counter for 100Hz control loop (5000Hz / 50 = 100Hz)
  static uint32_t control_counter = 0;

  // Tick all 6 motors in swerve drive system - 5kHz is only for motor ramps
  motor_tick_accel(&m0);  // FR steer
  motor_tick_accel(&m1);  // FR drive
  motor_tick_accel(&m2);  // FL steer
  motor_tick_accel(&m3);  // FL drive
  motor_tick_accel(&m4);  // R steer
  motor_tick_accel(&m5);  // R drive

  // Run 100Hz control loop (every 50 ticks of 5kHz)
  control_counter++;
  if (control_counter >= 50)
  {
    control_counter = 0;
    control_loop_100Hz();
  }

  // Process telemetry UART (can be called at 5kHz, won't block)
  telemetry_process_uart();
}

// 100Hz control loop with telemetry sampling
void control_loop_100Hz(void)
{
  // Reset watchdog health flags at start of each loop
  watchdog_reset_health_flags();

  // 1) Poll all motor counters for position feedback
  motor_poll_counter(&m0);  // FR steer
  motor_poll_counter(&m1);  // FR drive
  motor_poll_counter(&m2);  // FL steer
  motor_poll_counter(&m3);  // FL drive
  motor_poll_counter(&m4);  // R steer
  motor_poll_counter(&m5);  // R drive

  // Mark motor polling as complete
  watchdog_set_motor_polling_ok();

  // 2) Check for twist command timeout
  twist_timeout_check();

  // 3) Run kinematics with scaling
  SKM_Out kin_out;
  skm_update_100Hz(&swerve_kin, &kin_out);

  // 4) Send computed angles and speeds to swerve modules
  if (twist_should_send_commands()) {
    SwerveModule* modules[] = {&swerve_fr, &swerve_fl, &swerve_r};
    for (int i = 0; i < 3; i++) {
      if (modules[i] && modules[i]->is_homed) {
        // Always send steering commands immediately
        swerve_module_set_angle_abs(modules[i], kin_out.angle_rad[i]);

        // Only send drive commands after all modules reach target angles
        if (twist_should_send_drive_commands()) {
          swerve_module_set_wheel_speed(modules[i], kin_out.speed_mps[i]);
        } else {
          // Stop drive wheels while steering
          swerve_module_set_wheel_speed(modules[i], 0.0f);
        }
      }
    }
  }

  // Mark swerve module updates and kinematics as complete
  watchdog_set_swerve_update_ok();
  watchdog_set_kinematics_ok();

  // 4) Sample telemetry data (after all updates)
  if (telemetry_is_enabled()) {
    TelemetrySample sample = {0};

    // Timestamp and chassis data
    sample.timestamp_ms = HAL_GetTick();
    sample.vx_cmd = swerve_kin.vx_cmd;
    sample.vy_cmd = swerve_kin.vy_cmd;
    sample.wz_cmd = swerve_kin.wz_cmd;
    sample.vx_actual = swerve_kin.vx_cmd;  // No slew limiting - actual equals commanded
    sample.vy_actual = swerve_kin.vy_cmd;
    sample.wz_actual = swerve_kin.wz_cmd;
    sample.scale_factor = kin_out.scale_factor;

    // Per-module data
    SwerveModule* modules[] = {&swerve_fr, &swerve_fl, &swerve_r};
    for (int i = 0; i < 3; i++) {
      SwerveModule* mod = modules[i];
      TelemetryModuleData* telem_mod = &sample.modules[i];

      if (mod && mod->is_homed) {
        telem_mod->ang_now_deg = swerve_module_get_angle_abs(mod) * 180.0f / 3.14159f;
        telem_mod->ang_cmd_deg = mod->angle_cmd_rad * 180.0f / 3.14159f;
        telem_mod->v_cmd_mps = kin_out.speed_mps[i];
        telem_mod->drive_sps = motor_get_velocity_sps(mod->drive);
        telem_mod->pos_steps_drive = motor_get_position_steps(mod->drive);
        telem_mod->pos_steps_steer = motor_get_position_steps(mod->steer);
        telem_mod->inv = mod->drive_inverted;

        // Simple flag detection
        telem_mod->flags = 0;
        if (motor_is_busy(mod->steer)) telem_mod->flags |= TELEM_FLAG_TICK_WHILE_IDLE;
        if (fabsf(telem_mod->ang_now_deg) > 140.0f) telem_mod->flags |= TELEM_FLAG_STEER_LIMIT;
        if (kin_out.scale_factor < 0.99f) telem_mod->flags |= TELEM_FLAG_DRIVE_SATURATED;
      }
    }

    telemetry_sample(&sample);
  }

  // All critical operations complete - conditionally kick watchdog
  // Only kicks if all health flags are set (motor polling, swerve updates, kinematics, TIM6 heartbeat)
  watchdog_conditional_kick();
}

/* USER CODE END 4 */

void Error_Handler(void)
{
  __disable_irq();
  while (1)
  {
  }
}
